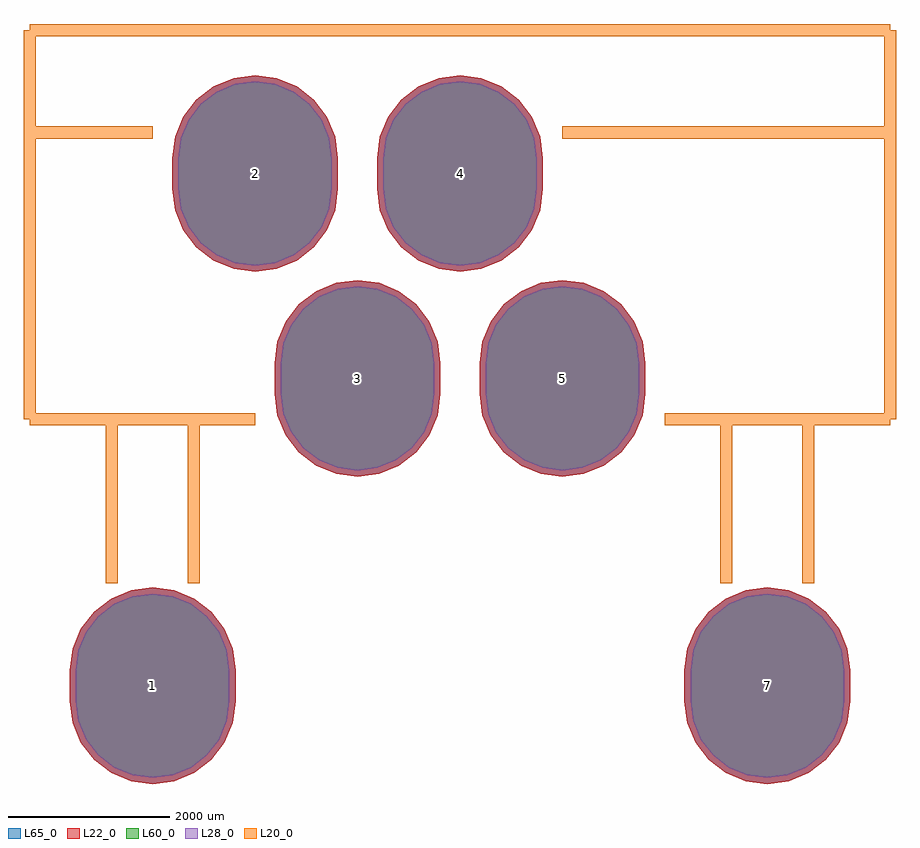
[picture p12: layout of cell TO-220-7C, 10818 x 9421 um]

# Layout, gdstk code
import gdstk
lib = gdstk.Library(unit=1e-6, precision=1e-09)
def P(c, l, *ps):  # polygons
    for p in ps: c.add(gdstk.Polygon(p, *l))
L20_0 = (20, 0)
L22_0 = (22, 0)
L28_0 = (28, 0)
L60_0 = (60, 0)
L65_0 = (65, 0)

to_220_7c = lib.new_cell('TO-220-7C')
P(to_220_7c, L22_0, [(-3810,-6298),(-3544.063,-6262.989),(-3296.25,-6160.341),(-3083.448,-5997.052),(-2920.159,-5784.25),(-2817.511,-5536.437),(-2782.5,-5270.5),(-2782.5,-4889.5),(-2817.511,-4623.563),(-2920.159,-4375.75),(-3083.448,-4162.948),(-3296.25,-3999.659),(-3544.063,-3897.011),(-3810,-3862),(-4075.937,-3897.011),(-4323.75,-3999.659),(-4536.552,-4162.948),(-4699.841,-4375.75),(-4802.489,-4623.563),(-4837.5,-4889.5),(-4837.5,-5270.5),(-4802.489,-5536.437),(-4699.841,-5784.25),(-4536.552,-5997.052),(-4323.75,-6160.341),(-4075.937,-6262.989)],
  [(3810,-6298),(4075.937,-6262.989),(4323.75,-6160.341),(4536.552,-5997.052),(4699.841,-5784.25),(4802.489,-5536.437),(4837.5,-5270.5),(4837.5,-4889.5),(4802.489,-4623.563),(4699.841,-4375.75),(4536.552,-4162.948),(4323.75,-3999.659),(4075.937,-3897.011),(3810,-3862),(3544.063,-3897.011),(3296.25,-3999.659),(3083.448,-4162.948),(2920.159,-4375.75),(2817.511,-4623.563),(2782.5,-4889.5),(2782.5,-5270.5),(2817.511,-5536.437),(2920.159,-5784.25),(3083.448,-5997.052),(3296.25,-6160.341),(3544.063,-6262.989)],
  [(1270,-2488),(1535.937,-2452.989),(1783.75,-2350.341),(1996.552,-2187.052),(2159.841,-1974.25),(2262.489,-1726.437),(2297.5,-1460.5),(2297.5,-1079.5),(2262.489,-813.563),(2159.841,-565.75),(1996.552,-352.948),(1783.75,-189.659),(1535.937,-87.011),(1270,-52),(1004.063,-87.011),(756.25,-189.659),(543.448,-352.948),(380.159,-565.75),(277.511,-813.563),(242.5,-1079.5),(242.5,-1460.5),(277.511,-1726.437),(380.159,-1974.25),(543.448,-2187.052),(756.25,-2350.341),(1004.063,-2452.989)],
  [(-1270,-2488),(-1004.063,-2452.989),(-756.25,-2350.341),(-543.448,-2187.052),(-380.159,-1974.25),(-277.511,-1726.437),(-242.5,-1460.5),(-242.5,-1079.5),(-277.511,-813.563),(-380.159,-565.75),(-543.448,-352.948),(-756.25,-189.659),(-1004.063,-87.011),(-1270,-52),(-1535.937,-87.011),(-1783.75,-189.659),(-1996.552,-352.948),(-2159.841,-565.75),(-2262.489,-813.563),(-2297.5,-1079.5),(-2297.5,-1460.5),(-2262.489,-1726.437),(-2159.841,-1974.25),(-1996.552,-2187.052),(-1783.75,-2350.341),(-1535.937,-2452.989)],
  [(-2540,52),(-2274.063,87.011),(-2026.25,189.659),(-1813.448,352.948),(-1650.159,565.75),(-1547.511,813.563),(-1512.5,1079.5),(-1512.5,1460.5),(-1547.511,1726.437),(-1650.159,1974.25),(-1813.448,2187.052),(-2026.25,2350.341),(-2274.063,2452.989),(-2540,2488),(-2805.937,2452.989),(-3053.75,2350.341),(-3266.552,2187.052),(-3429.841,1974.25),(-3532.489,1726.437),(-3567.5,1460.5),(-3567.5,1079.5),(-3532.489,813.563),(-3429.841,565.75),(-3266.552,352.948),(-3053.75,189.659),(-2805.937,87.011)],
  [(0,52),(265.937,87.011),(513.75,189.659),(726.552,352.948),(889.841,565.75),(992.489,813.563),(1027.5,1079.5),(1027.5,1460.5),(992.489,1726.437),(889.841,1974.25),(726.552,2187.052),(513.75,2350.341),(265.937,2452.989),(0,2488),(-265.937,2452.989),(-513.75,2350.341),(-726.552,2187.052),(-889.841,1974.25),(-992.489,1726.437),(-1027.5,1460.5),(-1027.5,1079.5),(-992.489,813.563),(-889.841,565.75),(-726.552,352.948),(-513.75,189.659),(-265.937,87.011)])
P(to_220_7c, L28_0, [(-3810,-6223),(-3563.475,-6190.544),(-3333.75,-6095.389),(-3136.481,-5944.019),(-2985.111,-5746.75),(-2889.956,-5517.025),(-2857.5,-5270.5),(-2857.5,-4889.5),(-2889.956,-4642.975),(-2985.111,-4413.25),(-3136.481,-4215.981),(-3333.75,-4064.611),(-3563.475,-3969.456),(-3810,-3937),(-4056.525,-3969.456),(-4286.25,-4064.611),(-4483.519,-4215.981),(-4634.889,-4413.25),(-4730.044,-4642.975),(-4762.5,-4889.5),(-4762.5,-5270.5),(-4730.044,-5517.025),(-4634.889,-5746.75),(-4483.519,-5944.019),(-4286.25,-6095.389),(-4056.525,-6190.544)],
  [(3810,-6223),(4056.525,-6190.544),(4286.25,-6095.389),(4483.519,-5944.019),(4634.889,-5746.75),(4730.044,-5517.025),(4762.5,-5270.5),(4762.5,-4889.5),(4730.044,-4642.975),(4634.889,-4413.25),(4483.519,-4215.981),(4286.25,-4064.611),(4056.525,-3969.456),(3810,-3937),(3563.475,-3969.456),(3333.75,-4064.611),(3136.481,-4215.981),(2985.111,-4413.25),(2889.956,-4642.975),(2857.5,-4889.5),(2857.5,-5270.5),(2889.956,-5517.025),(2985.111,-5746.75),(3136.481,-5944.019),(3333.75,-6095.389),(3563.475,-6190.544)],
  [(1270,-2413),(1516.525,-2380.544),(1746.25,-2285.389),(1943.519,-2134.019),(2094.889,-1936.75),(2190.044,-1707.025),(2222.5,-1460.5),(2222.5,-1079.5),(2190.044,-832.975),(2094.889,-603.25),(1943.519,-405.981),(1746.25,-254.611),(1516.525,-159.456),(1270,-127),(1023.475,-159.456),(793.75,-254.611),(596.481,-405.981),(445.111,-603.25),(349.956,-832.975),(317.5,-1079.5),(317.5,-1460.5),(349.956,-1707.025),(445.111,-1936.75),(596.481,-2134.019),(793.75,-2285.389),(1023.475,-2380.544)],
  [(-1270,-2413),(-1023.475,-2380.544),(-793.75,-2285.389),(-596.481,-2134.019),(-445.111,-1936.75),(-349.956,-1707.025),(-317.5,-1460.5),(-317.5,-1079.5),(-349.956,-832.975),(-445.111,-603.25),(-596.481,-405.981),(-793.75,-254.611),(-1023.475,-159.456),(-1270,-127),(-1516.525,-159.456),(-1746.25,-254.611),(-1943.519,-405.981),(-2094.889,-603.25),(-2190.044,-832.975),(-2222.5,-1079.5),(-2222.5,-1460.5),(-2190.044,-1707.025),(-2094.889,-1936.75),(-1943.519,-2134.019),(-1746.25,-2285.389),(-1516.525,-2380.544)],
  [(-2540,127),(-2293.475,159.456),(-2063.75,254.611),(-1866.481,405.981),(-1715.111,603.25),(-1619.956,832.975),(-1587.5,1079.5),(-1587.5,1460.5),(-1619.956,1707.025),(-1715.111,1936.75),(-1866.481,2134.019),(-2063.75,2285.389),(-2293.475,2380.544),(-2540,2413),(-2786.525,2380.544),(-3016.25,2285.389),(-3213.519,2134.019),(-3364.889,1936.75),(-3460.044,1707.025),(-3492.5,1460.5),(-3492.5,1079.5),(-3460.044,832.975),(-3364.889,603.25),(-3213.519,405.981),(-3016.25,254.611),(-2786.525,159.456)],
  [(0,127),(246.525,159.456),(476.25,254.611),(673.519,405.981),(824.889,603.25),(920.044,832.975),(952.5,1079.5),(952.5,1460.5),(920.044,1707.025),(824.889,1936.75),(673.519,2134.019),(476.25,2285.389),(246.525,2380.544),(0,2413),(-246.525,2380.544),(-476.25,2285.389),(-673.519,2134.019),(-824.889,1936.75),(-920.044,1707.025),(-952.5,1460.5),(-952.5,1079.5),(-920.044,832.975),(-824.889,603.25),(-673.519,405.981),(-476.25,254.611),(-246.525,159.456)])
P(to_220_7c, L60_0, [(-3810,-6223),(-3563.475,-6190.544),(-3333.75,-6095.389),(-3136.481,-5944.019),(-2985.111,-5746.75),(-2889.956,-5517.025),(-2857.5,-5270.5),(-2857.5,-4889.5),(-2889.956,-4642.975),(-2985.111,-4413.25),(-3136.481,-4215.981),(-3333.75,-4064.611),(-3563.475,-3969.456),(-3810,-3937),(-4056.525,-3969.456),(-4286.25,-4064.611),(-4483.519,-4215.981),(-4634.889,-4413.25),(-4730.044,-4642.975),(-4762.5,-4889.5),(-4762.5,-5270.5),(-4730.044,-5517.025),(-4634.889,-5746.75),(-4483.519,-5944.019),(-4286.25,-6095.389),(-4056.525,-6190.544)],
  [(3810,-6223),(4056.525,-6190.544),(4286.25,-6095.389),(4483.519,-5944.019),(4634.889,-5746.75),(4730.044,-5517.025),(4762.5,-5270.5),(4762.5,-4889.5),(4730.044,-4642.975),(4634.889,-4413.25),(4483.519,-4215.981),(4286.25,-4064.611),(4056.525,-3969.456),(3810,-3937),(3563.475,-3969.456),(3333.75,-4064.611),(3136.481,-4215.981),(2985.111,-4413.25),(2889.956,-4642.975),(2857.5,-4889.5),(2857.5,-5270.5),(2889.956,-5517.025),(2985.111,-5746.75),(3136.481,-5944.019),(3333.75,-6095.389),(3563.475,-6190.544)],
  [(1270,-2413),(1516.525,-2380.544),(1746.25,-2285.389),(1943.519,-2134.019),(2094.889,-1936.75),(2190.044,-1707.025),(2222.5,-1460.5),(2222.5,-1079.5),(2190.044,-832.975),(2094.889,-603.25),(1943.519,-405.981),(1746.25,-254.611),(1516.525,-159.456),(1270,-127),(1023.475,-159.456),(793.75,-254.611),(596.481,-405.981),(445.111,-603.25),(349.956,-832.975),(317.5,-1079.5),(317.5,-1460.5),(349.956,-1707.025),(445.111,-1936.75),(596.481,-2134.019),(793.75,-2285.389),(1023.475,-2380.544)],
  [(-1270,-2413),(-1023.475,-2380.544),(-793.75,-2285.389),(-596.481,-2134.019),(-445.111,-1936.75),(-349.956,-1707.025),(-317.5,-1460.5),(-317.5,-1079.5),(-349.956,-832.975),(-445.111,-603.25),(-596.481,-405.981),(-793.75,-254.611),(-1023.475,-159.456),(-1270,-127),(-1516.525,-159.456),(-1746.25,-254.611),(-1943.519,-405.981),(-2094.889,-603.25),(-2190.044,-832.975),(-2222.5,-1079.5),(-2222.5,-1460.5),(-2190.044,-1707.025),(-2094.889,-1936.75),(-1943.519,-2134.019),(-1746.25,-2285.389),(-1516.525,-2380.544)],
  [(-2540,127),(-2293.475,159.456),(-2063.75,254.611),(-1866.481,405.981),(-1715.111,603.25),(-1619.956,832.975),(-1587.5,1079.5),(-1587.5,1460.5),(-1619.956,1707.025),(-1715.111,1936.75),(-1866.481,2134.019),(-2063.75,2285.389),(-2293.475,2380.544),(-2540,2413),(-2786.525,2380.544),(-3016.25,2285.389),(-3213.519,2134.019),(-3364.889,1936.75),(-3460.044,1707.025),(-3492.5,1460.5),(-3492.5,1079.5),(-3460.044,832.975),(-3364.889,603.25),(-3213.519,405.981),(-3016.25,254.611),(-2786.525,159.456)],
  [(0,127),(246.525,159.456),(476.25,254.611),(673.519,405.981),(824.889,603.25),(920.044,832.975),(952.5,1079.5),(952.5,1460.5),(920.044,1707.025),(824.889,1936.75),(673.519,2134.019),(476.25,2285.389),(246.525,2380.544),(0,2413),(-246.525,2380.544),(-476.25,2285.389),(-673.519,2134.019),(-824.889,1936.75),(-920.044,1707.025),(-952.5,1460.5),(-952.5,1079.5),(-920.044,832.975),(-824.889,603.25),(-673.519,405.981),(-476.25,254.611),(-246.525,159.456)])
P(to_220_7c, L65_0, [(-3810,-6298),(-3544.063,-6262.989),(-3296.25,-6160.341),(-3083.448,-5997.052),(-2920.159,-5784.25),(-2817.511,-5536.437),(-2782.5,-5270.5),(-2782.5,-4889.5),(-2817.511,-4623.563),(-2920.159,-4375.75),(-3083.448,-4162.948),(-3296.25,-3999.659),(-3544.063,-3897.011),(-3810,-3862),(-4075.937,-3897.011),(-4323.75,-3999.659),(-4536.552,-4162.948),(-4699.841,-4375.75),(-4802.489,-4623.563),(-4837.5,-4889.5),(-4837.5,-5270.5),(-4802.489,-5536.437),(-4699.841,-5784.25),(-4536.552,-5997.052),(-4323.75,-6160.341),(-4075.937,-6262.989)],
  [(3810,-6298),(4075.937,-6262.989),(4323.75,-6160.341),(4536.552,-5997.052),(4699.841,-5784.25),(4802.489,-5536.437),(4837.5,-5270.5),(4837.5,-4889.5),(4802.489,-4623.563),(4699.841,-4375.75),(4536.552,-4162.948),(4323.75,-3999.659),(4075.937,-3897.011),(3810,-3862),(3544.063,-3897.011),(3296.25,-3999.659),(3083.448,-4162.948),(2920.159,-4375.75),(2817.511,-4623.563),(2782.5,-4889.5),(2782.5,-5270.5),(2817.511,-5536.437),(2920.159,-5784.25),(3083.448,-5997.052),(3296.25,-6160.341),(3544.063,-6262.989)],
  [(1270,-2488),(1535.937,-2452.989),(1783.75,-2350.341),(1996.552,-2187.052),(2159.841,-1974.25),(2262.489,-1726.437),(2297.5,-1460.5),(2297.5,-1079.5),(2262.489,-813.563),(2159.841,-565.75),(1996.552,-352.948),(1783.75,-189.659),(1535.937,-87.011),(1270,-52),(1004.063,-87.011),(756.25,-189.659),(543.448,-352.948),(380.159,-565.75),(277.511,-813.563),(242.5,-1079.5),(242.5,-1460.5),(277.511,-1726.437),(380.159,-1974.25),(543.448,-2187.052),(756.25,-2350.341),(1004.063,-2452.989)],
  [(-1270,-2488),(-1004.063,-2452.989),(-756.25,-2350.341),(-543.448,-2187.052),(-380.159,-1974.25),(-277.511,-1726.437),(-242.5,-1460.5),(-242.5,-1079.5),(-277.511,-813.563),(-380.159,-565.75),(-543.448,-352.948),(-756.25,-189.659),(-1004.063,-87.011),(-1270,-52),(-1535.937,-87.011),(-1783.75,-189.659),(-1996.552,-352.948),(-2159.841,-565.75),(-2262.489,-813.563),(-2297.5,-1079.5),(-2297.5,-1460.5),(-2262.489,-1726.437),(-2159.841,-1974.25),(-1996.552,-2187.052),(-1783.75,-2350.341),(-1535.937,-2452.989)],
  [(-2540,52),(-2274.063,87.011),(-2026.25,189.659),(-1813.448,352.948),(-1650.159,565.75),(-1547.511,813.563),(-1512.5,1079.5),(-1512.5,1460.5),(-1547.511,1726.437),(-1650.159,1974.25),(-1813.448,2187.052),(-2026.25,2350.341),(-2274.063,2452.989),(-2540,2488),(-2805.937,2452.989),(-3053.75,2350.341),(-3266.552,2187.052),(-3429.841,1974.25),(-3532.489,1726.437),(-3567.5,1460.5),(-3567.5,1079.5),(-3532.489,813.563),(-3429.841,565.75),(-3266.552,352.948),(-3053.75,189.659),(-2805.937,87.011)],
  [(0,52),(265.937,87.011),(513.75,189.659),(726.552,352.948),(889.841,565.75),(992.489,813.563),(1027.5,1079.5),(1027.5,1460.5),(992.489,1726.437),(889.841,1974.25),(726.552,2187.052),(513.75,2350.341),(265.937,2452.989),(0,2488),(-265.937,2452.989),(-513.75,2350.341),(-726.552,2187.052),(-889.841,1974.25),(-992.489,1726.437),(-1027.5,1460.5),(-1027.5,1079.5),(-992.489,813.563),(-889.841,565.75),(-726.552,352.948),(-513.75,189.659),(-265.937,87.011)])
to_220_7c.add(gdstk.FlexPath([(5334,3048),(-5334,3048)], 149.998, ends="flush", simple_path=True, layer=20, datatype=0))  # L20_0
to_220_7c.add(gdstk.FlexPath([(5334,-1778),(2540,-1778)], 149.998, ends="flush", simple_path=True, layer=20, datatype=0))  # L20_0
to_220_7c.add(gdstk.FlexPath([(5334,3048),(5334,-1778)], 149.998, ends="flush", simple_path=True, layer=20, datatype=0))  # L20_0
to_220_7c.add(gdstk.FlexPath([(-5334,-1778),(-2540,-1778)], 149.998, ends="flush", simple_path=True, layer=20, datatype=0))  # L20_0
to_220_7c.add(gdstk.FlexPath([(-5334,3048),(-5334,-1778)], 149.998, ends="flush", simple_path=True, layer=20, datatype=0))  # L20_0
to_220_7c.add(gdstk.FlexPath([(5334,1778),(1270,1778)], 149.998, ends="flush", simple_path=True, layer=20, datatype=0))  # L20_0
to_220_7c.add(gdstk.FlexPath([(-5334,1778),(-3810,1778)], 149.998, ends="flush", simple_path=True, layer=20, datatype=0))  # L20_0
to_220_7c.add(gdstk.FlexPath([(-4318,-3810),(-4318,-1778)], 149.998, ends="flush", simple_path=True, layer=20, datatype=0))  # L20_0
to_220_7c.add(gdstk.FlexPath([(-3302,-3810),(-3302,-1778)], 149.998, ends="flush", simple_path=True, layer=20, datatype=0))  # L20_0
to_220_7c.add(gdstk.FlexPath([(3302,-3810),(3302,-1778)], 149.998, ends="flush", simple_path=True, layer=20, datatype=0))  # L20_0
to_220_7c.add(gdstk.FlexPath([(4318,-3810),(4318,-1778)], 149.998, ends="flush", simple_path=True, layer=20, datatype=0))  # L20_0
to_220_7c.add(gdstk.Label('1', (-3810,-5080), layer=28, texttype=0))
to_220_7c.add(gdstk.Label('7', (3810,-5080), layer=28, texttype=0))
to_220_7c.add(gdstk.Label('5', (1270,-1270), layer=28, texttype=0))
to_220_7c.add(gdstk.Label('3', (-1270,-1270), layer=28, texttype=0))
to_220_7c.add(gdstk.Label('2', (-2540,1270), layer=28, texttype=0))
to_220_7c.add(gdstk.Label('4', (0,1270), layer=28, texttype=0))
to_220_7c.add(gdstk.Label('type', (127,4318), layer=9, texttype=0))
to_220_7c.add(gdstk.Label('devicename', (0,4318), layer=9, texttype=0))

lib.write_gds('TO-220-7C.gds')
